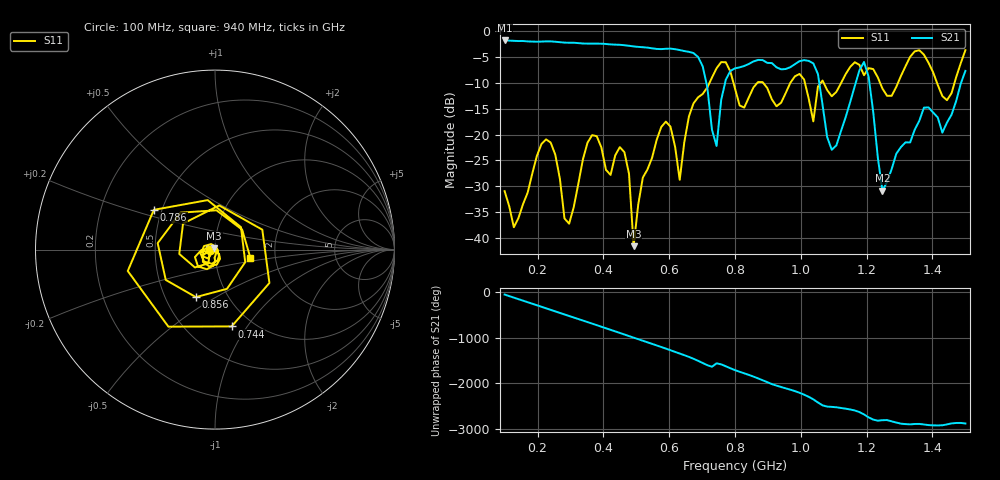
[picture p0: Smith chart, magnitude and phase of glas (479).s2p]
! NanoVNA-App
! Date: 2025-09-25 15:59:12
! Start: 100MHz Stop: 1,5GHz Points: 101
! S-Parameter data: F S11 S21 S12 S22
# Hz S RI R 50
!  Frequency  S11_Real  S11_Imag  S21_Real  S21_Imag  S12_Real  S12_Imag  S22_Real  S22_Imag
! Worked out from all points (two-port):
!   101 points, 100 MHz to 1.5 GHz, reference 50 ohm
!   highest |S21| = -1.80 dB at 100 MHz (marker M1); lowest = -30.8 dB at 1.248 GHz (marker M2)
!   |S21| within 3 dB of the highest: start of sweep to 684.3 MHz
!   lowest |S11| = -41.6 dB at 492 MHz (marker M3), VSWR 1.02, Z = 49.5 + j0.657 ohm
!   |S11| at or under -10 dB: start of sweep to 722.5 MHz; 795.3 MHz to 867.9 MHz (72.55 MHz wide, 8.72 % of centre); 885.7 MHz to 968 MHz (82.26 MHz wide, 8.88 % of centre)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
!   S12 and S22 are empty: the file has one direction only
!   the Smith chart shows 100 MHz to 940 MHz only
!   S11 on the Smith chart (normalised r, x): 100 MHz: 0.95, -0.01; 744 MHz: 0.80, -0.85; 786 MHz: 0.45, +0.24; 856 MHz: 0.71, -0.41; 940 MHz: 1.48, -0.15
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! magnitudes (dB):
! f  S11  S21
! 100 MHz  -30.9  -1.8
! 128 MHz  -37.9  -1.9
! 226 MHz  -20.9  -2.0
! 296 MHz  -37.2  -2.2
! 338 MHz  -24.8  -2.4
! 464 MHz  -23.4  -2.7
! 492 MHz  -41.6  -3.0
! 576 MHz  -18.5  -3.5
! 632 MHz  -28.8  -3.7
! 702 MHz  -12.1  -6.8
! 744 MHz  -7.2  -22.2
! 786 MHz  -7.8  -7.7
! 800 MHz  -11.1  -7.2
! 856 MHz  -10.9  -5.9
! 940 MHz  -13.9  -7.4
! 996 MHz  -8.3  -5.8
! 1.038 GHz  -17.5  -6.2
! 1.094 GHz  -12.6  -22.9
! 1.192 GHz  -8.5  -6.0
! 1.248 GHz  -11.1  -30.8
! 1.276 GHz  -12.5  -26.7
! 1.5 GHz  -3.7  -7.7
